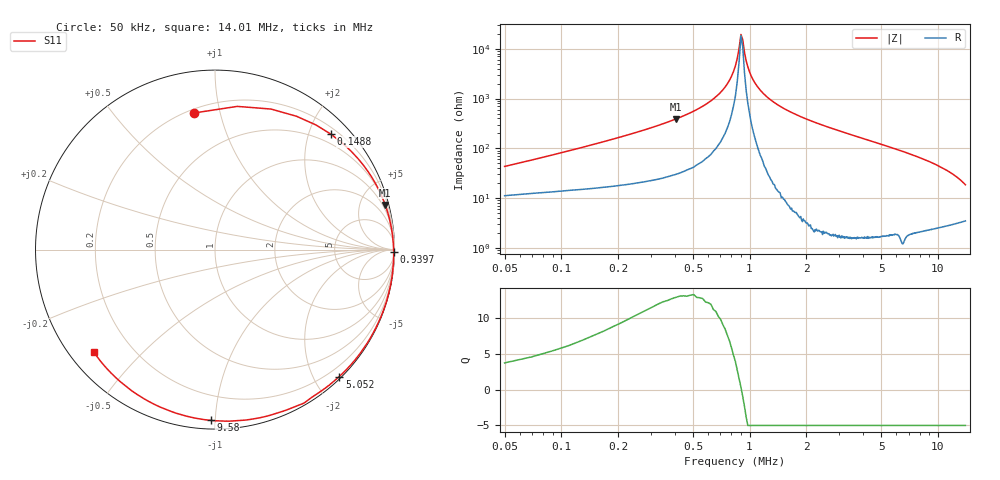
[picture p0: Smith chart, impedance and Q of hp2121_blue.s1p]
# Hz S RI R 50
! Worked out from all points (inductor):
!   707 points, 50 kHz to 14.01 MHz, reference 50 ohm
!   read as one part to ground: L = 124 uH near 109.3 kHz
!   highest Q = 12.8 at 405.8 kHz (marker M1), where L = 151 uH
!   self-resonance near 900.1 kHz
!   S11 on the Smith chart (normalised r, x): 50 kHz: 0.22, +0.83; 148.8 kHz: 0.31, +2.38; 939.7 kHz: open; 5.052 MHz: 0.03, -2.38; 9.58 MHz: 0.05, -0.97; 14.01 MHz: 0.07, -0.36
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50000  -0.1158 0.7613
69700  0.124 0.7979
109300  0.4548 0.7426
129000  0.5623 0.6944
148800  0.6446 0.6439
188400  0.7568 0.55
247700  0.8515 0.4367
307000  0.9034 0.3511
405800  0.9486 0.2485
504700  0.971 0.1754
623300  0.9847 0.1096
939700  0.9953 -0.0108
1295600  0.9916 -0.1062
1809700  0.9741 -0.2164
2659872  0.9265 -0.3693
3549572  0.8558 -0.5089
5052244  0.6926 -0.7072
5289544  0.6623 -0.7341
6475816  0.502 -0.8511
7029516  0.4098 -0.8893
7919216  0.2628 -0.9341
8789188  0.1138 -0.9543
9580088  -0.025 -0.9513
1.052916e7  -0.1898 -0.9196
1.137926e7  -0.3299 -0.8659
1.226903e7  -0.4647 -0.7857
1.321813e7  -0.59 -0.6763
1.400903e7  -0.6765 -0.5694
